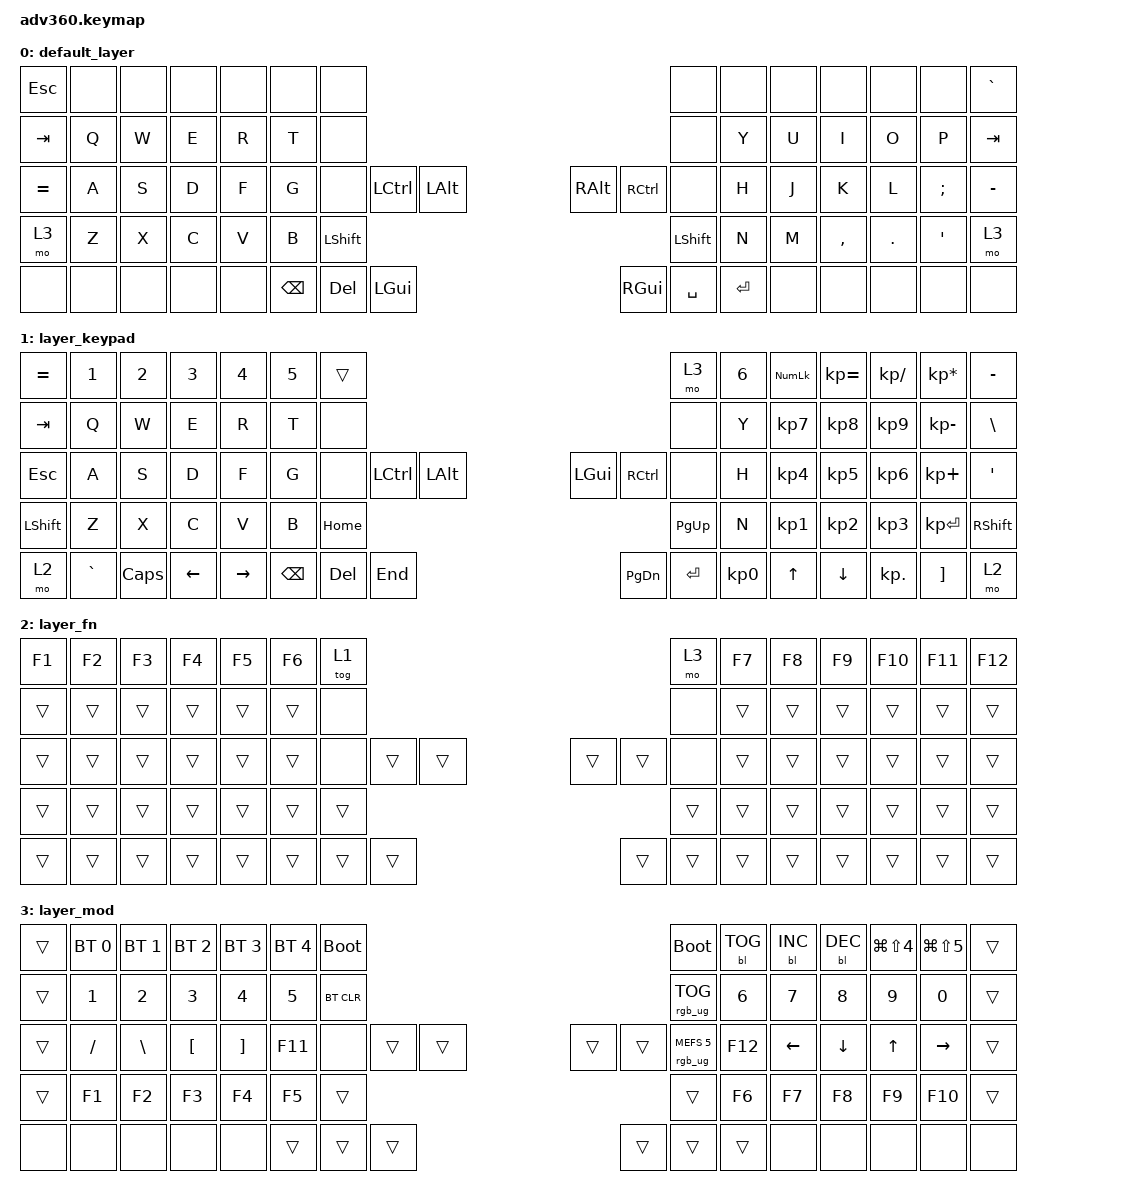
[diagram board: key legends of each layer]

/*
 * Copyright (c) 2020 The ZMK Contributors
 *
 * SPDX-License-Identifier: MIT
 */


/* THIS FILE WAS GENERATED!
 *
 * This file was generated automatically. You may or may not want to
 * edit it directly.
 */

#include <behaviors.dtsi>
#include <dt-bindings/zmk/keys.h>
#include <dt-bindings/zmk/bt.h>
#include <dt-bindings/zmk/backlight.h>
#include <dt-bindings/zmk/rgb.h>

/ {
  behaviors {
    #include "macros.dtsi"
    #include "version.dtsi"

    hm: homerow_mods {
        compatible = "zmk,behavior-hold-tap";
        label = "HOMEROW_MODS";
        #binding-cells = <2>;
        tapping-term-ms = <200>;
        quick_tap_ms = <175>;
        flavor = "tap-preferred";
        bindings = <&kp>, <&kp>;
    };
  };

    keymap {
        compatible = "zmk,keymap";


        default_layer {
            bindings = <
   &kp ESC   &none   &none   &none   &none   &none               &none                                                                  &none   &none   &none      &none    &none     &none  &kp GRAVE
   &kp TAB   &kp Q   &kp W   &kp E   &kp R   &kp T               &none                                                                  &none   &kp Y   &kp U      &kp I    &kp O     &kp P    &kp TAB
 &kp EQUAL   &kp A   &kp S   &kp D   &kp F   &kp G               &none  &kp LCTRL   &kp LALT                   &kp RALT  &kp RCTRL      &none   &kp H   &kp J      &kp K    &kp L  &kp SEMI  &kp MINUS
     &mo 3   &kp Z   &kp X   &kp C   &kp V   &kp B                                 &kp LSHFT                  &kp LSHFT                         &kp N   &kp M  &kp COMMA  &kp DOT   &kp SQT      &mo 3
     &none   &none   &none   &none   &none                    &kp BSPC    &kp DEL   &kp LGUI                   &kp RGUI  &kp SPACE  &kp ENTER           &none      &none    &none     &none      &none
            >;
        };

        layer_keypad {
            bindings = <
 &kp EQUAL     &kp N1    &kp N2    &kp N3     &kp N4  &kp N5              &trans                                                                 &mo 3  &kp N6  &kp KP_NUM  &kp KP_EQUAL  &kp KP_DIVIDE  &kp KP_MULTIPLY  &kp MINUS
   &kp TAB      &kp Q     &kp W     &kp E      &kp R   &kp T               &none                                                                 &none   &kp Y   &kp KP_N7     &kp KP_N8      &kp KP_N9     &kp KP_MINUS   &kp BSLH
   &kp ESC      &kp A     &kp S     &kp D      &kp F   &kp G               &none  &kp LCTRL  &kp LALT                   &kp LGUI  &kp RCTRL      &none   &kp H   &kp KP_N4     &kp KP_N5      &kp KP_N6      &kp KP_PLUS    &kp SQT
 &kp LSHFT      &kp Z     &kp X     &kp C      &kp V   &kp B                                 &kp HOME                  &kp PG_UP                         &kp N   &kp KP_N1     &kp KP_N2      &kp KP_N3     &kp KP_ENTER  &kp RSHFT
     &mo 2  &kp GRAVE  &kp CAPS  &kp LEFT  &kp RIGHT                    &kp BSPC    &kp DEL   &kp END                  &kp PG_DN  &kp ENTER  &kp KP_N0              &kp UP      &kp DOWN     &kp KP_DOT         &kp RBKT      &mo 2
            >;
        };

        layer_fn {
            bindings = <
 &kp F1  &kp F2  &kp F3  &kp F4  &kp F5  &kp F6            &tog 1                                                   &mo 3  &kp F7  &kp F8  &kp F9  &kp F10  &kp F11  &kp F12
 &trans  &trans  &trans  &trans  &trans  &trans             &none                                                   &none  &trans  &trans  &trans   &trans   &trans   &trans
 &trans  &trans  &trans  &trans  &trans  &trans             &none  &trans  &trans                  &trans  &trans   &none  &trans  &trans  &trans   &trans   &trans   &trans
 &trans  &trans  &trans  &trans  &trans  &trans                            &trans                  &trans                  &trans  &trans  &trans   &trans   &trans   &trans
 &trans  &trans  &trans  &trans  &trans                    &trans  &trans  &trans                  &trans  &trans  &trans          &trans  &trans   &trans   &trans   &trans
            >;
        };

        layer_mod {
            bindings = <
 &trans  &bt BT_SEL 0  &bt BT_SEL 1  &bt BT_SEL 2  &bt BT_SEL 3  &bt BT_SEL 4            &bootloader                                                             &bootloader  &bl BL_TOG  &bl BL_INC  &bl BL_DEC  &kp LG(LS(N4))  &kp LG(LS(N5))  &trans
 &trans        &kp N1        &kp N2        &kp N3        &kp N4        &kp N5             &bt BT_CLR                                                         &rgb_ug RGB_TOG      &kp N6      &kp N7      &kp N8          &kp N9          &kp N0  &trans
 &trans      &kp FSLH      &kp BSLH      &kp LBKT      &kp RBKT       &kp F11                  &none  &trans  &trans                  &trans  &trans  &rgb_ug RGB_MEFS_CMD 5     &kp F12    &kp LEFT    &kp DOWN          &kp UP       &kp RIGHT  &trans
 &trans        &kp F1        &kp F2        &kp F3        &kp F4        &kp F5                                 &trans                  &trans                                      &kp F6      &kp F7      &kp F8          &kp F9         &kp F10  &trans
  &none         &none         &none         &none         &none                               &trans  &trans  &trans                  &trans  &trans                  &trans                   &none       &none           &none           &none   &none
            >;
        };

    };
};
